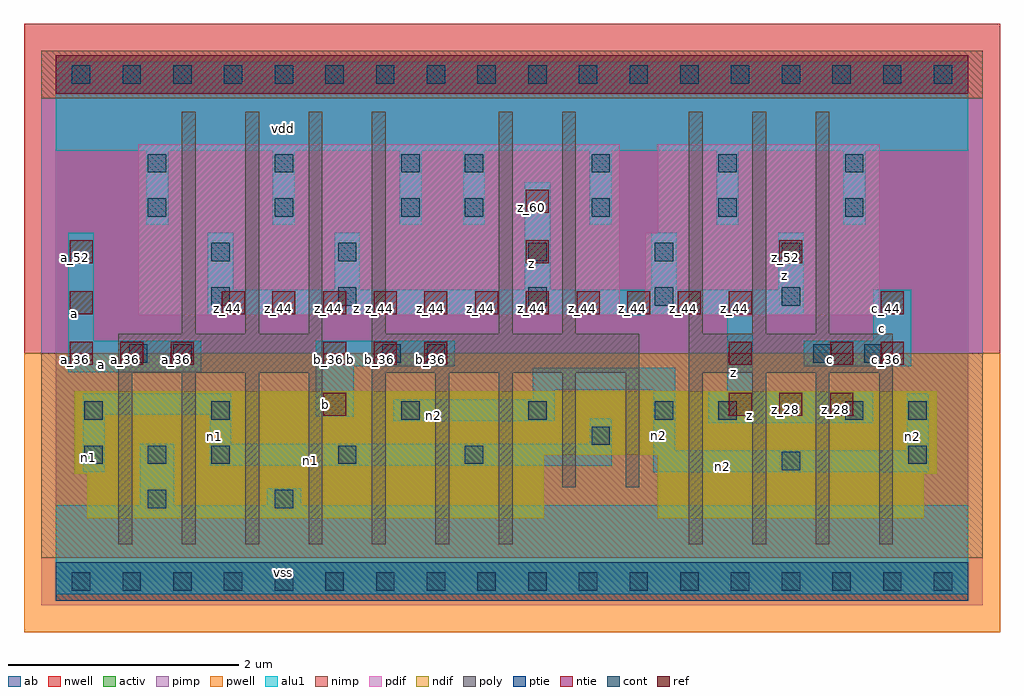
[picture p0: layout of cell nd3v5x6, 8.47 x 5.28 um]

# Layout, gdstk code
import gdstk
lib = gdstk.Library(unit=1e-6, precision=2.5e-09)
def R(c, l, rs):  # rectangles x0, y0, x1, y1
    for r in rs: c.add(gdstk.rectangle(r[:2], r[2:], *l))
def A(c, l, x, y, w, h, nx, ny, dx, dy):  # array of equal rectangles
    R(c, l, [(x+i*dx, y+j*dy, x+i*dx+w, y+j*dy+h) for i in range(nx) for j in range(ny)])
ndif = (3, 0)
pdif = (4, 0)
ntie = (5, 0)
ptie = (6, 0)
ref = (24, 0)
cont = (25, 0)
pwell = (41, 0)
nwell = (42, 0)
activ = (43, 0)
pimp = (44, 0)
nimp = (45, 0)
poly = (46, 0)
alu1 = (49, 0)
ab = (63, 0)

nd3v5x6 = lib.new_cell('nd3v5x6')
R(nd3v5x6, ndif, [(0.275,0.55,4.235,0.935), (5.225,0.55,7.535,0.935), (0.165,0.935,4.235,1.1), (5.225,0.935,7.645,1.1), (0.165,1.1,7.645,1.65)])
R(nd3v5x6, pdif, [(0.715,2.31,4.895,3.795), (5.115,2.31,7.15,3.025), (5.225,3.025,7.15,3.795)])
R(nd3v5x6, ntie, [(0,4.235,7.92,4.565)])
R(nd3v5x6, ptie, [(0,-0.165,7.92,0.165)])
A(nd3v5x6, ref, 5.84, 1.44, 0.2, 0.2, 3, 1, 0.44, 0)
A(nd3v5x6, ref, 0.12, 1.88, 0.2, 0.2, 3, 1, 0.44, 0)
A(nd3v5x6, ref, 2.32, 1.88, 0.2, 0.2, 3, 1, 0.44, 0)
A(nd3v5x6, ref, 1.44, 2.32, 0.2, 0.2, 11, 1, 0.44, 0)
R(nd3v5x6, ref, [(2.32,1.44,2.52,1.64), (5.84,1.88,6.04,2.08), (6.72,1.88,6.92,2.08), (7.16,1.88,7.36,2.08), (0.12,2.32,0.32,2.52), (7.16,2.32,7.36,2.52), (0.12,2.76,0.32,2.96), (4.08,2.76,4.28,2.96), (6.28,2.76,6.48,2.96), (4.08,3.2,4.28,3.4)])
A(nd3v5x6, cont, 0.14, -0.08, 0.16, 0.16, 18, 2, 0.44, 4.4)
A(nd3v5x6, cont, 0.25, 1.02, 0.16, 0.16, 3, 1, 0.55, 0)
A(nd3v5x6, cont, 3, 1.405, 0.16, 0.16, 3, 1, 1.1, 0)
A(nd3v5x6, cont, 4.1, 2.395, 0.16, 0.16, 3, 2, 1.1, 0.385)
A(nd3v5x6, cont, 0.8, 3.165, 0.16, 0.16, 3, 2, 1.1, 0.385)
A(nd3v5x6, cont, 3.55, 3.165, 0.16, 0.16, 4, 2, 1.1, 0.385)
R(nd3v5x6, cont, [(0.8,0.635,0.96,0.795), (1.9,0.635,2.06,0.795), (6.3,0.965,6.46,1.125), (2.45,1.02,2.61,1.18), (3.55,1.02,3.71,1.18), (7.4,1.02,7.56,1.18), (4.65,1.185,4.81,1.345), (0.25,1.405,0.41,1.565), (1.35,1.405,1.51,1.565), (5.75,1.405,5.91,1.565), (6.85,1.405,7.01,1.565), (7.4,1.405,7.56,1.565), (0.635,1.9,0.795,2.06), (1.02,1.9,1.18,2.06), (2.835,1.9,2.995,2.06), (3.22,1.9,3.38,2.06), (6.575,1.9,6.735,2.06), (7.015,1.9,7.175,2.06), (1.35,2.395,1.51,2.555), (2.45,2.395,2.61,2.555), (1.35,2.78,1.51,2.94), (2.45,2.78,2.61,2.94)])
R(nd3v5x6, pwell, [(-0.275,-0.44,8.195,1.98)])
R(nd3v5x6, nwell, [(-0.275,1.98,8.195,4.84)])
R(nd3v5x6, activ, [(0,-0.165,7.92,0.165), (0.275,0.55,4.235,0.935), (5.225,0.55,7.535,0.935), (0.165,0.935,4.235,1.1), (5.225,0.935,7.645,1.1), (0.165,1.1,7.645,1.65), (0.715,2.31,4.895,3.795), (5.115,2.31,7.15,3.025), (5.225,3.025,7.15,3.795), (0,4.235,7.92,4.565)])
R(nd3v5x6, pimp, [(-0.125,-0.205,8.045,0.205), (-0.125,1.98,8.045,4.195)])
R(nd3v5x6, nimp, [(-0.125,0.205,8.045,1.98), (-0.125,4.195,8.045,4.605)])
A(nd3v5x6, poly, 0.545, 0.325, 0.12, 1.485, 7, 1, 0.55, 0)
A(nd3v5x6, poly, 5.495, 0.325, 0.12, 1.485, 4, 1, 0.55, 0)
A(nd3v5x6, poly, 1.095, 2.15, 0.12, 1.925, 4, 1, 0.55, 0)
A(nd3v5x6, poly, 5.495, 2.15, 0.12, 1.925, 3, 1, 0.55, 0)
R(nd3v5x6, poly, [(4.395,0.82,4.515,1.81), (4.945,0.82,5.065,1.81), (0.545,1.81,2.315,2.15), (2.745,1.81,5.065,2.15), (5.495,1.81,7.265,2.15), (3.845,2.15,3.965,4.075), (4.395,2.15,4.515,4.075)])
A(nd3v5x6, alu1, 0.785, 3.095, 0.19, 0.645, 3, 1, 1.1, 0)
A(nd3v5x6, alu1, 3.535, 3.095, 0.19, 0.645, 4, 1, 1.1, 0)
R(nd3v5x6, alu1, [(0,-0.11,7.92,0.66), (0.73,0.66,1.03,1.195), (1.83,0.66,2.13,0.81), (0.235,0.95,0.425,1.445), (5.185,0.95,7.575,1.14), (1.335,1.005,4.825,1.195), (5.185,1.14,5.375,1.665), (7.385,1.14,7.575,1.635), (1.335,1.195,1.525,1.445), (4.635,1.195,4.825,1.415), (5.665,1.375,7.095,1.65), (2.93,1.39,4.33,1.58), (2.255,1.43,2.585,1.87), (0.235,1.445,1.525,1.635), (4.14,1.58,4.33,1.665), (5.83,1.65,6.05,2.31), (4.14,1.665,5.375,1.855), (0.11,1.815,1.265,2.09), (2.255,1.87,3.465,2.09), (6.49,1.87,7.425,2.09), (0.11,2.09,0.33,3.025), (7.095,2.09,7.425,2.53), (1.32,2.31,6.49,2.53), (1.32,2.53,1.54,3.025), (2.42,2.53,2.64,3.025), (4.07,2.53,4.29,3.465), (5.17,2.53,5.39,3.025), (6.27,2.53,6.49,3.025), (0,3.74,7.92,4.51)])
R(nd3v5x6, ab, [(0,0,7.92,4.4)])
nd3v5x6.add(gdstk.Label('vss', (1.98,0.0825), layer=49, texttype=0))
nd3v5x6.add(gdstk.Label('n2', (5.7825,0.9975), layer=49, texttype=0))
nd3v5x6.add(gdstk.Label('n2', (7.4325,1.2625), layer=49, texttype=0))
nd3v5x6.add(gdstk.Label('z', (6.0225,1.4425), layer=49, texttype=0))
nd3v5x6.add(gdstk.Label('c', (6.7225,1.925), layer=49, texttype=0))
nd3v5x6.add(gdstk.Label('c', (7.1775,2.2), layer=49, texttype=0))
nd3v5x6.add(gdstk.Label('z', (5.885,1.815), layer=49, texttype=0))
nd3v5x6.add(gdstk.Label('n2', (5.2325,1.27), layer=49, texttype=0))
nd3v5x6.add(gdstk.Label('n1', (2.2075,1.0525), layer=49, texttype=0))
nd3v5x6.add(gdstk.Label('n2', (3.28,1.4375), layer=49, texttype=0))
nd3v5x6.add(gdstk.Label('b', (2.3375,1.54), layer=49, texttype=0))
nd3v5x6.add(gdstk.Label('n1', (1.3825,1.2575), layer=49, texttype=0))
nd3v5x6.add(gdstk.Label('n1', (0.2825,1.0725), layer=49, texttype=0))
nd3v5x6.add(gdstk.Label('b', (2.5575,1.925), layer=49, texttype=0))
nd3v5x6.add(gdstk.Label('a', (0.3975,1.8825), layer=49, texttype=0))
nd3v5x6.add(gdstk.Label('z', (2.6125,2.365), layer=49, texttype=0))
nd3v5x6.add(gdstk.Label('z', (6.325,2.6525), layer=49, texttype=0))
nd3v5x6.add(gdstk.Label('z', (4.125,2.7625), layer=49, texttype=0))
nd3v5x6.add(gdstk.Label('a', (0.165,2.3225), layer=49, texttype=0))
nd3v5x6.add(gdstk.Label('vdd', (1.98,3.9325), layer=49, texttype=0))
nd3v5x6.add(gdstk.Label('a_36', (0.17,1.93), layer=24, texttype=0))
nd3v5x6.add(gdstk.Label('c_36', (7.21,1.93), layer=24, texttype=0))
nd3v5x6.add(gdstk.Label('z_60', (4.13,3.25), layer=24, texttype=0))
nd3v5x6.add(gdstk.Label('z_44', (5.01,2.37), layer=24, texttype=0))
nd3v5x6.add(gdstk.Label('z_44', (4.57,2.37), layer=24, texttype=0))
nd3v5x6.add(gdstk.Label('z_44', (1.93,2.37), layer=24, texttype=0))
nd3v5x6.add(gdstk.Label('z_44', (2.37,2.37), layer=24, texttype=0))
nd3v5x6.add(gdstk.Label('z_44', (2.81,2.37), layer=24, texttype=0))
nd3v5x6.add(gdstk.Label('a_36', (0.61,1.93), layer=24, texttype=0))
nd3v5x6.add(gdstk.Label('z_52', (4.13,2.81), layer=24, texttype=0))
nd3v5x6.add(gdstk.Label('b_36', (2.37,1.93), layer=24, texttype=0))
nd3v5x6.add(gdstk.Label('z_44', (1.49,2.37), layer=24, texttype=0))
nd3v5x6.add(gdstk.Label('z_44', (3.25,2.37), layer=24, texttype=0))
nd3v5x6.add(gdstk.Label('z_44', (3.69,2.37), layer=24, texttype=0))
nd3v5x6.add(gdstk.Label('z_44', (4.13,2.37), layer=24, texttype=0))
nd3v5x6.add(gdstk.Label('a_44', (0.17,2.37), layer=24, texttype=0))
nd3v5x6.add(gdstk.Label('a_36', (1.05,1.93), layer=24, texttype=0))
nd3v5x6.add(gdstk.Label('b_36', (2.81,1.93), layer=24, texttype=0))
nd3v5x6.add(gdstk.Label('a_52', (0.17,2.81), layer=24, texttype=0))
nd3v5x6.add(gdstk.Label('b_28', (2.37,1.49), layer=24, texttype=0))
nd3v5x6.add(gdstk.Label('b_36', (3.25,1.93), layer=24, texttype=0))
nd3v5x6.add(gdstk.Label('z_44', (5.45,2.37), layer=24, texttype=0))
nd3v5x6.add(gdstk.Label('c_44', (7.21,2.37), layer=24, texttype=0))
nd3v5x6.add(gdstk.Label('c_36', (6.77,1.93), layer=24, texttype=0))
nd3v5x6.add(gdstk.Label('z_52', (6.33,2.81), layer=24, texttype=0))
nd3v5x6.add(gdstk.Label('z_28', (6.33,1.49), layer=24, texttype=0))
nd3v5x6.add(gdstk.Label('z_36', (5.89,1.93), layer=24, texttype=0))
nd3v5x6.add(gdstk.Label('z_28', (5.89,1.49), layer=24, texttype=0))
nd3v5x6.add(gdstk.Label('z_28', (6.77,1.49), layer=24, texttype=0))
nd3v5x6.add(gdstk.Label('z_44', (5.89,2.37), layer=24, texttype=0))

lib.write_gds('nd3v5x6.gds')
